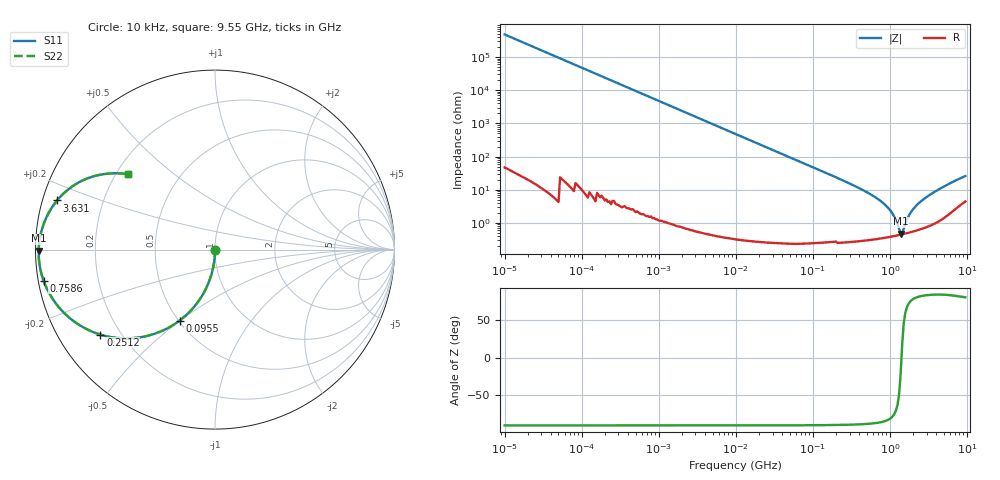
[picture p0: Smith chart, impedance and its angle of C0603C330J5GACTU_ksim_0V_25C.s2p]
! C0603C330K5GAC
! Temp = 25?C, Bias = 0VDC, Shunt
! KEMET S2P Model
# HZ S DB R 50
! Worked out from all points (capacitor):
!   300 points, 10 kHz to 9.55 GHz, reference 50 ohm
!   read as one part in shunt: C = 33.1 pF near 10.47 kHz
!   lowest |Z| = 474 mohm at 1.38 GHz (marker M1)
!   series resonance near 1.415 GHz, so ESL is about 380 pH
!   S11 on the Smith chart (normalised r, x): 10 kHz: 1.00, -0.00; 95.5 MHz: 0.51, -0.50; 251.2 MHz: 0.13, -0.33; 758.6 MHz: 0.01, -0.09; 3.631 GHz: 0.04, +0.15; 9.55 GHz: 0.25, +0.35
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10000  -85.67 -90.0  0.00 -0.0  0.00 -0.0  -85.67 -90.0
19054.62  -80.07 -90.0  0.00 -0.0  0.00 -0.0  -80.07 -90.0
100000  -65.67 -90.0  -0.00 -0.0  -0.00 -0.0  -65.67 -90.0
1000000  -45.67 -90.3  -0.00 -0.3  -0.00 -0.3  -45.67 -90.3
1e7  -25.72 -93.0  -0.01 -3.0  -0.01 -3.0  -25.72 -93.0
4.168693e7  -13.53 -102.3  -0.20 -12.2  -0.20 -12.2  -13.53 -102.3
9.549926e7  -7.08 -116.5  -0.97 -26.3  -0.97 -26.3  -7.08 -116.5
1e8  -6.76 -117.6  -1.05 -27.3  -1.05 -27.3  -6.76 -117.6
1.659588e8  -3.72 -131.2  -2.47 -40.7  -2.47 -40.7  -3.72 -131.2
2.511884e8  -1.99 -143.4  -4.50 -52.6  -4.50 -52.6  -1.99 -143.4
4.57088e8  -0.68 -159.3  -9.05 -67.6  -9.05 -67.6  -0.68 -159.3
7.585778e8  -0.26 -169.8  -14.98 -75.5  -14.98 -75.5  -0.26 -169.8
1e9  -0.17 -174.5  -20.28 -75.7  -20.28 -75.7  -0.17 -174.5
1.202264e9  -0.15 -177.5  -26.53 -67.3  -26.53 -67.3  -0.15 -177.5
1.380385e9  -0.15 -179.6  -34.59 -20.2  -34.59 -20.2  -0.15 -179.6
1.445439e9  -0.16 179.7  -34.50 18.1  -34.50 18.1  -0.16 179.7
1.659588e9  -0.18 177.4  -26.25 64.1  -26.25 64.1  -0.18 177.4
1.995263e9  -0.23 174.4  -19.99 72.0  -19.99 72.0  -0.23 174.4
2.511884e9  -0.35 170.3  -15.37 71.9  -15.37 71.9  -0.35 170.3
3.630784e9  -0.71 162.7  -10.47 66.3  -10.47 66.3  -0.71 162.7
6.025592e9  -1.90 150.0  -5.95 52.9  -5.95 52.9  -1.90 150.0
9.549916e9  -3.88 138.9  -3.52 39.1  -3.52 39.1  -3.88 138.9
